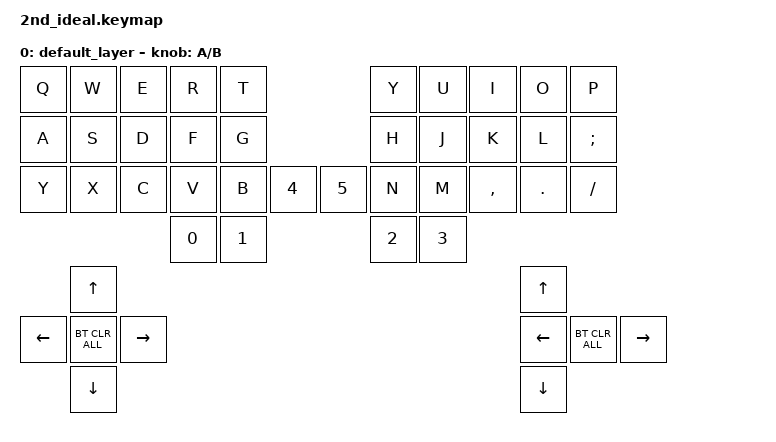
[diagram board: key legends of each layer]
#include <behaviors.dtsi>
#include <dt-bindings/zmk/keys.h>
#include <dt-bindings/zmk/bt.h>

/ {
	keymap {
		 compatible = "zmk,keymap";

		 default_layer {
			 bindings = <
&kp Q    &kp W &kp E &kp R  &kp T                &kp Y  &kp U  &kp I     &kp O     &kp P
&kp A    &kp S &kp D &kp F  &kp G                &kp H  &kp J  &kp K     &kp L     &kp SEMI
&kp Y    &kp X &kp C &kp V  &kp B  &kp N4 &kp N5 &kp N  &kp M  &kp COMMA &kp DOT   &kp FSLH
                     &kp N0 &kp N1               &kp N2 &kp N3
         &kp UP                                                          &kp UP
&kp LEFT &bt BT_CLR_ALL &kp RIGHT                                   &kp LEFT  &bt BT_CLR_ALL &kp RIGHT
         &kp DOWN                                                        &kp DOWN
		 	>;
		 	sensor-bindings = <&inc_dec_kp A B>;
	 };
	};
};
